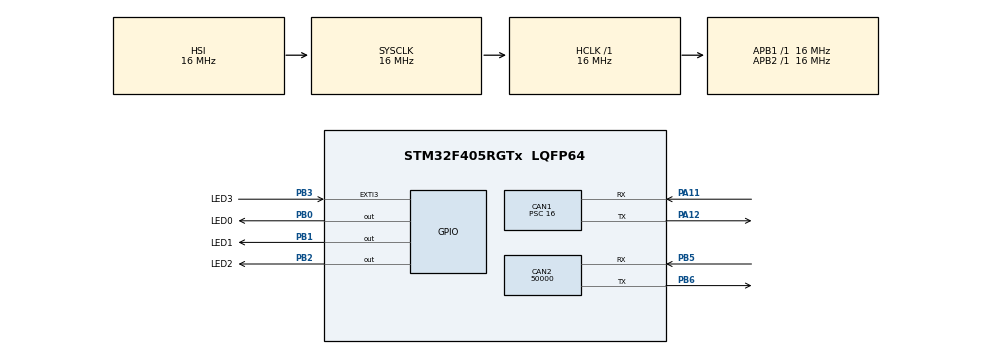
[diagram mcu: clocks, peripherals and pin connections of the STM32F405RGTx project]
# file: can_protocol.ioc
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CAN1.BS1=CAN_BS1_14TQ
CAN1.BS2=CAN_BS2_5TQ
CAN1.CalculateBaudRate=50000
CAN1.CalculateTimeBit=20000
CAN1.CalculateTimeQuantum=1000.0
CAN1.Prescaler=16
CAN2.BS1=CAN_BS1_14TQ
CAN2.BS2=CAN_BS2_5TQ
CAN2.CalculateBaudRate=50000
CAN2.CalculateTimeBit=20000
CAN2.CalculateTimeQuantum=1000.0
Mcu.Family=STM32F4
Mcu.Name=STM32F405RGTx
Mcu.Package=LQFP64
NVIC.CAN1_RX0_IRQn=true\:0\:0\:false\:false\:true\:true\:true\:true
NVIC.CAN2_RX0_IRQn=true\:0\:0\:false\:false\:true\:true\:true\:true
NVIC.PriorityGroup=NVIC_PRIORITYGROUP_4
NVIC.TIM2_IRQn=true\:0\:0\:false\:false\:true\:true\:true\:true
PA11.Mode=CAN_Activate
PA11.Signal=CAN1_RX
PA12.Mode=CAN_Activate
PA12.Signal=CAN1_TX
PB0.GPIO_Label=LED0
PB0.Signal=GPIO_Output
PB1.GPIO_Label=LED1
PB1.Signal=GPIO_Output
PB2.GPIO_Label=LED2
PB2.Signal=GPIO_Output
PB3.GPIO_Label=LED3
PB3.Signal=GPXTI3
PB5.Mode=CAN_Activate
PB5.Signal=CAN2_RX
PB6.Mode=CAN_Activate
PB6.Signal=CAN2_TX
ProjectManager.HeapSize=0x200
ProjectManager.StackSize=0x400
ProjectManager.TargetToolchain=STM32CubeIDE
RCC.AHBFreq_Value=16000000
RCC.APB1Freq_Value=16000000
RCC.APB2Freq_Value=16000000
RCC.CortexFreq_Value=16000000
RCC.HSE_VALUE=25000000
RCC.HSI_VALUE=16000000
RCC.LSE_VALUE=32768
RCC.SYSCLKFreq_VALUE=16000000
RCC.VCOOutputFreq_Value=192000000
TIM2.Period=9
TIM2.Prescaler=15999
VP_TIM2_VS_ClockSourceINT.Mode=Internal
board=custom

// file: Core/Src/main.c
/* USER CODE BEGIN Header */
/**
  ******************************************************************************
  * @file           : main.c
  * @brief          : Main program body
  ******************************************************************************
  * @attention
  *
  * Copyright (c) 2023 STMicroelectronics.
  * All rights reserved.
  *
  * This software is licensed under terms that can be found in the LICENSE file
  * in the root directory of this software component.
  * If no LICENSE file comes with this software, it is provided AS-IS.
  *
  ******************************************************************************
  */
/* USER CODE END Header */
#include "main.h"

/* USER CODE BEGIN Includes */
#include "timer.h"
/* USER CODE END Includes */

CAN_HandleTypeDef hcan1;
CAN_HandleTypeDef hcan2;

TIM_HandleTypeDef htim2;

void SystemClock_Config(void);
static void MX_GPIO_Init(void);
static void MX_CAN1_Init(void);
static void MX_CAN2_Init(void);
static void MX_TIM2_Init(void);

/* USER CODE BEGIN 0 */
CAN_TxHeaderTypeDef   CAN1_TxHeader;
CAN_TxHeaderTypeDef   CAN1_RxHeader;
uint8_t               CAN1_TxData[8] = {0};
uint8_t               CAN1_RxData[8];
uint32_t              CAN1_TxMailbox;
int 				  CAN1_data_receive_check = 0;
CAN_FilterTypeDef 	  CAN1_filterconfig;

CAN_TxHeaderTypeDef   CAN2_RxHeader;
CAN_TxHeaderTypeDef   CAN2_TxHeader;
uint8_t				  CAN2_RxData[8];
uint8_t               CAN2_TxData[8]= {0};
uint32_t              CAN2_TxMailbox;
uint8_t 			  CAN2_count_TxMessage = 0;
int 				  CAN2_data_receive_check = 0;
CAN_FilterTypeDef 	  CAN2_filterconfig;

void CAN_header_setup(CAN_TxHeaderTypeDef* header, uint32_t id)
{
	header->DLC = 8;
	header->ExtId = 0;
	header->StdId = id;
	header->RTR = CAN_RTR_DATA;
	header->IDE = CAN_ID_STD;
	header->TransmitGlobalTime = DISABLE;
}

void HAL_CAN_RxFifo0MsgPendingCallback(CAN_HandleTypeDef *hcan)
{

  if (HAL_CAN_GetRxMessage(hcan, CAN_RX_FIFO0, &CAN2_RxHeader, CAN2_RxData) != HAL_OK)
  {
	  Error_Handler();
  }

  if ((CAN2_RxHeader.StdId == 0x012))
  {
	  CAN2_data_receive_check = 1;
  }
}

void HAL_CAN_RxFifo1MsgPendingCallback(CAN_HandleTypeDef *hcan)
{
	if (HAL_CAN_GetRxMessage(hcan, CAN_RX_FIFO1, &CAN1_RxHeader, CAN1_RxData) != HAL_OK)
	{
		Error_Handler();
	}

	if ((CAN1_RxHeader.StdId == 0x0A2))
	{
		CAN1_data_receive_check = 1;
	}
}

int calc_SAE_J1850(uint8_t data[], int crc_len)
{
	uint8_t idx, crc, temp1, temp2, idy;
	crc = 0;
	idx = 0;
	idy = 0;
	temp1 = 0;
	temp2 = 0;
	for (idx = 0; idx < crc_len; idx++){
		if (idx == 0){
			temp1 = 0;
		}
		else{
			temp1 = data[crc_len-idx];
		}
		crc = (crc^temp1);
		for (idy = 8; idy > 0; idy--){
			temp2 = crc;
			crc <<= 1;
			if ( 0 != (temp2 & 128)){
				crc ^= 0x1D;
			}
		}
	}
	return crc;
}
/* USER CODE END 0 */

int main(void)
{

  /* MCU Configuration--------------------------------------------------------*/

  /* Reset of all peripherals, Initializes the Flash interface and the Systick. */
  HAL_Init();

  /* Configure the system clock */
  SystemClock_Config();

  /* Initialize all configured peripherals */
  MX_GPIO_Init();
  MX_CAN1_Init();
  MX_CAN2_Init();
  MX_TIM2_Init();
  /* USER CODE BEGIN 2 */
  HAL_CAN_Start(&hcan1);
  HAL_CAN_Start(&hcan2);
  HAL_TIM_Base_Start_IT(&htim2);

  CAN_header_setup(&CAN2_TxHeader,0x0A2);
  CAN2_TxData[0] = (uint8_t)1;
  CAN2_TxData[1] = (uint8_t)2;
  CAN2_TxData[6] = (uint8_t)CAN2_count_TxMessage;

  if (HAL_CAN_ActivateNotification(&hcan2, CAN_IT_RX_FIFO0_MSG_PENDING) != HAL_OK)
  {
	  Error_Handler();
  }

  if (HAL_CAN_ActivateNotification(&hcan1, CAN_IT_RX_FIFO1_MSG_PENDING) != HAL_OK)
  {
  	  Error_Handler();
  }
  setTimer1(5);
  /* USER CODE END 2 */

  /* Infinite loop */
  while (1)
  {

    /* USER CODE BEGIN 3 */
	  if (timer1_flag == 1){
	  		  setTimer1(5);
	  		  CAN2_TxData[6] = (uint8_t)CAN2_count_TxMessage;
	  		  if (HAL_CAN_AddTxMessage(&hcan2, &CAN2_TxHeader, CAN2_TxData, &CAN2_TxMailbox) != HAL_OK)
	  		  {
	  		  	  Error_Handler();
	  		  }
	  		  else{
	  			  CAN2_count_TxMessage += 1;
	  			  HAL_GPIO_WritePin(LED0_GPIO_Port, LED0_Pin, GPIO_PIN_SET);
	  		  }
	  	  }
	  	  if (CAN1_data_receive_check == 1){
	  		  CAN1_data_receive_check = 0;
	  		  HAL_GPIO_WritePin(LED1_GPIO_Port, LED1_Pin, GPIO_PIN_SET);
	  		  CAN_header_setup(&CAN1_TxHeader, 0x012);
	  		  CAN1_TxData[0] = CAN1_RxData[0];
	  		  CAN1_TxData[1] = CAN1_RxData[1];
	  		  CAN1_TxData[2] = CAN1_RxData[0] + CAN1_RxData[1];
	  		  CAN1_TxData[7] = calc_SAE_J1850(CAN1_RxData, 7);
	  		  if (HAL_CAN_AddTxMessage(&hcan1, &CAN1_TxHeader, CAN1_TxData, &CAN1_TxMailbox) != HAL_OK)
	  		  {
	  			  Error_Handler();
	  		  }
	  		  else{
	  			  if (CAN1_TxData[2] == 3){
	  				  HAL_GPIO_WritePin(LED2_GPIO_Port, LED2_Pin, GPIO_PIN_SET);
	  			  }
	  		  }
	  	  }
	  	  if (CAN2_data_receive_check == 1){
	  		  CAN2_data_receive_check = 0;
	  		  HAL_GPIO_WritePin(LED3_GPIO_Port, LED3_Pin, GPIO_PIN_SET);

	  	  }

  }
  /* USER CODE END 3 */
}

void SystemClock_Config(void)
{
  RCC_OscInitTypeDef RCC_OscInitStruct = {0};
  RCC_ClkInitTypeDef RCC_ClkInitStruct = {0};

  /** Configure the main internal regulator output voltage
  */
  __HAL_RCC_PWR_CLK_ENABLE();
  __HAL_PWR_VOLTAGESCALING_CONFIG(PWR_REGULATOR_VOLTAGE_SCALE1);

  /** Initializes the RCC Oscillators according to the specified parameters
  * in the RCC_OscInitTypeDef structure.
  */
  RCC_OscInitStruct.OscillatorType = RCC_OSCILLATORTYPE_HSI;
  RCC_OscInitStruct.HSIState = RCC_HSI_ON;
  RCC_OscInitStruct.HSICalibrationValue = RCC_HSICALIBRATION_DEFAULT;
  RCC_OscInitStruct.PLL.PLLState = RCC_PLL_NONE;
  if (HAL_RCC_OscConfig(&RCC_OscInitStruct) != HAL_OK)
  {
    Error_Handler();
  }

  /** Initializes the CPU, AHB and APB buses clocks
  */
  RCC_ClkInitStruct.ClockType = RCC_CLOCKTYPE_HCLK|RCC_CLOCKTYPE_SYSCLK
                              |RCC_CLOCKTYPE_PCLK1|RCC_CLOCKTYPE_PCLK2;
  RCC_ClkInitStruct.SYSCLKSource = RCC_SYSCLKSOURCE_HSI;
  RCC_ClkInitStruct.AHBCLKDivider = RCC_SYSCLK_DIV1;
  RCC_ClkInitStruct.APB1CLKDivider = RCC_HCLK_DIV1;
  RCC_ClkInitStruct.APB2CLKDivider = RCC_HCLK_DIV1;

  if (HAL_RCC_ClockConfig(&RCC_ClkInitStruct, FLASH_LATENCY_0) != HAL_OK)
  {
    Error_Handler();
  }
}

static void MX_CAN1_Init(void)
{

  hcan1.Instance = CAN1;
  hcan1.Init.Prescaler = 16;
  hcan1.Init.Mode = CAN_MODE_NORMAL;
  hcan1.Init.SyncJumpWidth = CAN_SJW_1TQ;
  hcan1.Init.TimeSeg1 = CAN_BS1_14TQ;
  hcan1.Init.TimeSeg2 = CAN_BS2_5TQ;
  hcan1.Init.TimeTriggeredMode = DISABLE;
  hcan1.Init.AutoBusOff = DISABLE;
  hcan1.Init.AutoWakeUp = DISABLE;
  hcan1.Init.AutoRetransmission = DISABLE;
  hcan1.Init.ReceiveFifoLocked = DISABLE;
  hcan1.Init.TransmitFifoPriority = DISABLE;
  if (HAL_CAN_Init(&hcan1) != HAL_OK)
  {
    Error_Handler();
  }
  /* USER CODE BEGIN CAN1_Init 2 */
  CAN1_filterconfig.FilterBank = 14;
  CAN1_filterconfig.FilterMode = CAN_FILTERMODE_IDMASK;
  CAN1_filterconfig.FilterFIFOAssignment = CAN_RX_FIFO1;
  CAN1_filterconfig.FilterIdHigh = 0;
  CAN1_filterconfig.FilterIdLow = 0;
  CAN1_filterconfig.FilterMaskIdHigh = 0;
  CAN1_filterconfig.FilterMaskIdLow = 0;
  CAN1_filterconfig.FilterScale = CAN_FILTERSCALE_32BIT;
  CAN1_filterconfig.FilterActivation = ENABLE;
  CAN1_filterconfig.SlaveStartFilterBank = 18;

  HAL_CAN_ConfigFilter(&hcan1, &CAN1_filterconfig);
  /* USER CODE END CAN1_Init 2 */

}

static void MX_CAN2_Init(void)
{

  hcan2.Instance = CAN2;
  hcan2.Init.Prescaler = 16;
  hcan2.Init.Mode = CAN_MODE_NORMAL;
  hcan2.Init.SyncJumpWidth = CAN_SJW_1TQ;
  hcan2.Init.TimeSeg1 = CAN_BS1_14TQ;
  hcan2.Init.TimeSeg2 = CAN_BS2_5TQ;
  hcan2.Init.TimeTriggeredMode = DISABLE;
  hcan2.Init.AutoBusOff = DISABLE;
  hcan2.Init.AutoWakeUp = DISABLE;
  hcan2.Init.AutoRetransmission = DISABLE;
  hcan2.Init.ReceiveFifoLocked = DISABLE;
  hcan2.Init.TransmitFifoPriority = DISABLE;
  if (HAL_CAN_Init(&hcan2) != HAL_OK)
  {
    Error_Handler();
  }
  /* USER CODE BEGIN CAN2_Init 2 */
  CAN2_filterconfig.FilterBank = 8;
  CAN2_filterconfig.FilterMode = CAN_FILTERMODE_IDMASK;
  CAN2_filterconfig.FilterFIFOAssignment = CAN_RX_FIFO0;
  CAN2_filterconfig.FilterIdHigh = 0;
  CAN2_filterconfig.FilterIdLow = 0;
  CAN2_filterconfig.FilterMaskIdHigh = 0;
  CAN2_filterconfig.FilterMaskIdLow = 0;
  CAN2_filterconfig.FilterScale = CAN_FILTERSCALE_32BIT;
  CAN2_filterconfig.FilterActivation = ENABLE;
  CAN2_filterconfig.SlaveStartFilterBank = 10;

  HAL_CAN_ConfigFilter(&hcan2, &CAN2_filterconfig);
  /* USER CODE END CAN2_Init 2 */

}

static void MX_TIM2_Init(void)
{

  TIM_ClockConfigTypeDef sClockSourceConfig = {0};
  TIM_MasterConfigTypeDef sMasterConfig = {0};

  htim2.Instance = TIM2;
  htim2.Init.Prescaler = 15999;
  htim2.Init.CounterMode = TIM_COUNTERMODE_UP;
  htim2.Init.Period = 9;
  htim2.Init.ClockDivision = TIM_CLOCKDIVISION_DIV1;
  htim2.Init.AutoReloadPreload = TIM_AUTORELOAD_PRELOAD_DISABLE;
  if (HAL_TIM_Base_Init(&htim2) != HAL_OK)
  {
    Error_Handler();
  }
  sClockSourceConfig.ClockSource = TIM_CLOCKSOURCE_INTERNAL;
  if (HAL_TIM_ConfigClockSource(&htim2, &sClockSourceConfig) != HAL_OK)
  {
    Error_Handler();
  }
  sMasterConfig.MasterOutputTrigger = TIM_TRGO_RESET;
  sMasterConfig.MasterSlaveMode = TIM_MASTERSLAVEMODE_DISABLE;
  if (HAL_TIMEx_MasterConfigSynchronization(&htim2, &sMasterConfig) != HAL_OK)
  {
    Error_Handler();
  }

}

static void MX_GPIO_Init(void)
{
  GPIO_InitTypeDef GPIO_InitStruct = {0};

  /* GPIO Ports Clock Enable */
  __HAL_RCC_GPIOB_CLK_ENABLE();
  __HAL_RCC_GPIOA_CLK_ENABLE();

  /*Configure GPIO pin Output Level */
  HAL_GPIO_WritePin(GPIOB, LED0_Pin|LED1_Pin|LED2_Pin, GPIO_PIN_RESET);

  /*Configure GPIO pins : LED0_Pin LED1_Pin LED2_Pin */
  GPIO_InitStruct.Pin = LED0_Pin|LED1_Pin|LED2_Pin;
  GPIO_InitStruct.Mode = GPIO_MODE_OUTPUT_PP;
  GPIO_InitStruct.Pull = GPIO_NOPULL;
  GPIO_InitStruct.Speed = GPIO_SPEED_FREQ_LOW;
  HAL_GPIO_Init(GPIOB, &GPIO_InitStruct);

  /*Configure GPIO pin : LED3_Pin */
  GPIO_InitStruct.Pin = LED3_Pin;
  GPIO_InitStruct.Mode = GPIO_MODE_IT_RISING;
  GPIO_InitStruct.Pull = GPIO_NOPULL;
  HAL_GPIO_Init(LED3_GPIO_Port, &GPIO_InitStruct);

}

/* USER CODE BEGIN 4 */
void HAL_TIM_PeriodElapsedCallback(TIM_HandleTypeDef *htim) {
	timerRun1();
	timerRun2();
}
/* USER CODE END 4 */

void Error_Handler(void)
{
  __disable_irq();
  while (1)
  {
  }
}
